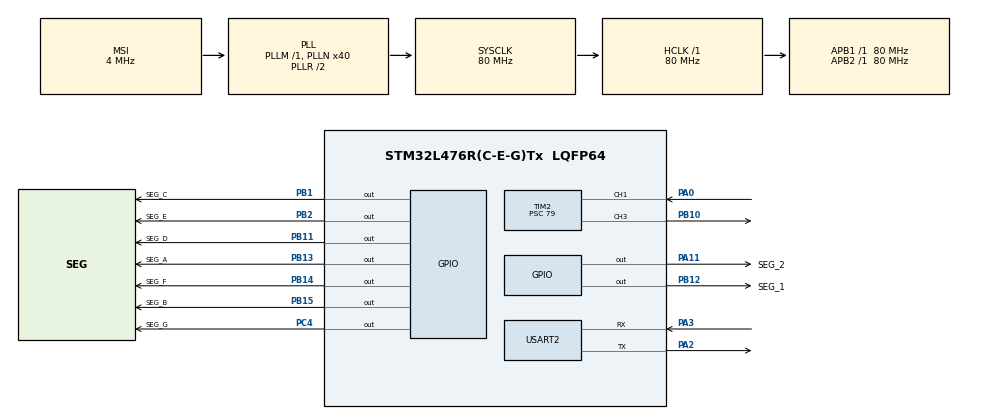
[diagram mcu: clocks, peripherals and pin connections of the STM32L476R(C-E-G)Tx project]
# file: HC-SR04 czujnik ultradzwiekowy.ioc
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Mcu.Family=STM32L4
Mcu.Name=STM32L476R(C-E-G)Tx
Mcu.Package=LQFP64
NVIC.PriorityGroup=NVIC_PRIORITYGROUP_4
NVIC.TIM2_IRQn=true\:10\:0\:true\:false\:true\:true\:true\:true
NVIC.TIM6_DAC_IRQn=true\:10\:0\:true\:false\:true\:true\:true\:true
PA0.Signal=S_TIM2_CH1
PA11.GPIO_Label=SEG_2
PA11.GPIO_ModeDefaultOutputPP=GPIO_MODE_OUTPUT_OD
PA11.GPIO_PuPd=GPIO_NOPULL
PA11.PinState=GPIO_PIN_SET
PA11.Signal=GPIO_Output
PA13\ (JTMS-SWDIO).Mode=Serial_Wire
PA13\ (JTMS-SWDIO).Signal=SYS_JTMS-SWDIO
PA14\ (JTCK-SWCLK).Mode=Serial_Wire
PA14\ (JTCK-SWCLK).Signal=SYS_JTCK-SWCLK
PA2.Mode=Asynchronous
PA2.Signal=USART2_TX
PA3.Mode=Asynchronous
PA3.Signal=USART2_RX
PB1.GPIO_Label=SEG_C
PB1.Signal=GPIO_Output
PB10.Signal=S_TIM2_CH3
PB11.GPIO_Label=SEG_D
PB11.Signal=GPIO_Output
PB12.GPIO_Label=SEG_1
PB12.GPIO_ModeDefaultOutputPP=GPIO_MODE_OUTPUT_OD
PB12.GPIO_PuPd=GPIO_NOPULL
PB12.PinState=GPIO_PIN_SET
PB12.Signal=GPIO_Output
PB13.GPIO_Label=SEG_A
PB13.Signal=GPIO_Output
PB14.GPIO_Label=SEG_F
PB14.Signal=GPIO_Output
PB15.GPIO_Label=SEG_B
PB15.Signal=GPIO_Output
PB2.GPIO_Label=SEG_E
PB2.Signal=GPIO_Output
PC4.GPIO_Label=SEG_G
PC4.Signal=GPIO_Output
ProjectManager.HeapSize=0x200
ProjectManager.StackSize=0x400
ProjectManager.TargetToolchain=STM32CubeIDE
RCC.AHBFreq_Value=80000000
RCC.APB1Freq_Value=80000000
RCC.APB1TimFreq_Value=80000000
RCC.APB2Freq_Value=80000000
RCC.APB2TimFreq_Value=80000000
RCC.CortexFreq_Value=80000000
RCC.HCLKFreq_Value=80000000
RCC.HSE_VALUE=8000000
RCC.HSI_VALUE=16000000
RCC.LSE_VALUE=32768
RCC.MSI_VALUE=4000000
RCC.PLLN=40
RCC.SYSCLKFreq_VALUE=80000000
RCC.SYSCLKSource=RCC_SYSCLKSOURCE_PLLCLK
RCC.VCOOutputFreq_Value=160000000
SH.S_TIM2_CH1.0=TIM2_CH1,Input_Capture1_from_TI1
SH.S_TIM2_CH3.0=TIM2_CH3,PWM Generation3 CH3
TIM2.Channel-Input_Capture1_from_TI1=TIM_CHANNEL_1
TIM2.Channel-Input_Capture2_from_TI1_63=TIM_CHANNEL_2
TIM2.Channel-PWM\ Generation3\ CH3=TIM_CHANNEL_3
TIM2.ICPolarity_CH1=TIM_INPUTCHANNELPOLARITY_RISING
TIM2.ICPolarity_CH2=TIM_INPUTCHANNELPOLARITY_FALLING
TIM2.Period=99999
TIM2.Prescaler=79
TIM2.Pulse-PWM\ Generation3\ CH3=10
TIM6.Period=99
TIM6.Prescaler=7999
USART2.VirtualMode-Asynchronous=VM_ASYNC
VP_TIM2_VS_ClockSourceINT.Mode=Internal
VP_TIM2_VS_indirect_ch1.Mode=Input_Capture2_from_TI1_63
VP_TIM6_VS_ClockSourceINT.Mode=Enable_Timer
board=custom

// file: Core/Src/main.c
/* USER CODE BEGIN Header */
/**
  ******************************************************************************
  * @file           : main.c
  * @brief          : Main program body
  ******************************************************************************
  * @attention
  *
  * Copyright (c) 2026 STMicroelectronics.
  * All rights reserved.
  *
  * This software is licensed under terms that can be found in the LICENSE file
  * in the root directory of this software component.
  * If no LICENSE file comes with this software, it is provided AS-IS.
  *
  ******************************************************************************
  */
/* USER CODE END Header */
#include "main.h"
#include "tim.h"
#include "usart.h"
#include "gpio.h"

/* USER CODE BEGIN Includes */
#include <stdio.h>
#include <seg7.h>
/* USER CODE END Includes */

void SystemClock_Config(void);

/* USER CODE BEGIN 0 */
int __io_putchar(int ch)
{
  if (ch == '\n') {
    __io_putchar('\r');
  }
  HAL_UART_Transmit(&huart2, (uint8_t*)&ch, 1, HAL_MAX_DELAY);
  return 1;
}

void HAL_TIM_PeriodElapsedCallback(TIM_HandleTypeDef *htim)
{
	if (htim == &htim6) {
		seg7_update();
	} else if (htim == &htim2) {
		uint32_t start = HAL_TIM_ReadCapturedValue(&htim2, TIM_CHANNEL_1);
		uint32_t stop = HAL_TIM_ReadCapturedValue(&htim2, TIM_CHANNEL_2);
		seg7_show((stop - start) / 58);
	}
}
/* USER CODE END 0 */

int main(void)
{

  /* MCU Configuration--------------------------------------------------------*/

  /* Reset of all peripherals, Initializes the Flash interface and the Systick. */
  HAL_Init();

  /* Configure the system clock */
  SystemClock_Config();

  /* Initialize all configured peripherals */
  MX_GPIO_Init();
  MX_USART2_UART_Init();
  MX_TIM2_Init();
  MX_TIM6_Init();
  /* USER CODE BEGIN 2 */
  HAL_TIM_Base_Start_IT(&htim6);
  HAL_TIM_Base_Start_IT(&htim2);
  HAL_TIM_IC_Start(&htim2, TIM_CHANNEL_1);
  HAL_TIM_IC_Start(&htim2, TIM_CHANNEL_2);
  HAL_TIM_PWM_Start(&htim2, TIM_CHANNEL_3);
  /* USER CODE END 2 */

  /* Infinite loop */
  while (1)
  {

  }
}

void SystemClock_Config(void)
{
  RCC_OscInitTypeDef RCC_OscInitStruct = {0};
  RCC_ClkInitTypeDef RCC_ClkInitStruct = {0};

  /** Configure the main internal regulator output voltage
  */
  if (HAL_PWREx_ControlVoltageScaling(PWR_REGULATOR_VOLTAGE_SCALE1) != HAL_OK)
  {
    Error_Handler();
  }

  /** Initializes the RCC Oscillators according to the specified parameters
  * in the RCC_OscInitTypeDef structure.
  */
  RCC_OscInitStruct.OscillatorType = RCC_OSCILLATORTYPE_MSI;
  RCC_OscInitStruct.MSIState = RCC_MSI_ON;
  RCC_OscInitStruct.MSICalibrationValue = 0;
  RCC_OscInitStruct.MSIClockRange = RCC_MSIRANGE_6;
  RCC_OscInitStruct.PLL.PLLState = RCC_PLL_ON;
  RCC_OscInitStruct.PLL.PLLSource = RCC_PLLSOURCE_MSI;
  RCC_OscInitStruct.PLL.PLLM = 1;
  RCC_OscInitStruct.PLL.PLLN = 40;
  RCC_OscInitStruct.PLL.PLLP = RCC_PLLP_DIV7;
  RCC_OscInitStruct.PLL.PLLQ = RCC_PLLQ_DIV2;
  RCC_OscInitStruct.PLL.PLLR = RCC_PLLR_DIV2;
  if (HAL_RCC_OscConfig(&RCC_OscInitStruct) != HAL_OK)
  {
    Error_Handler();
  }

  /** Initializes the CPU, AHB and APB buses clocks
  */
  RCC_ClkInitStruct.ClockType = RCC_CLOCKTYPE_HCLK|RCC_CLOCKTYPE_SYSCLK
                              |RCC_CLOCKTYPE_PCLK1|RCC_CLOCKTYPE_PCLK2;
  RCC_ClkInitStruct.SYSCLKSource = RCC_SYSCLKSOURCE_PLLCLK;
  RCC_ClkInitStruct.AHBCLKDivider = RCC_SYSCLK_DIV1;
  RCC_ClkInitStruct.APB1CLKDivider = RCC_HCLK_DIV1;
  RCC_ClkInitStruct.APB2CLKDivider = RCC_HCLK_DIV1;

  if (HAL_RCC_ClockConfig(&RCC_ClkInitStruct, FLASH_LATENCY_4) != HAL_OK)
  {
    Error_Handler();
  }
}

void Error_Handler(void)
{
  __disable_irq();
  while (1)
  {
  }
}
